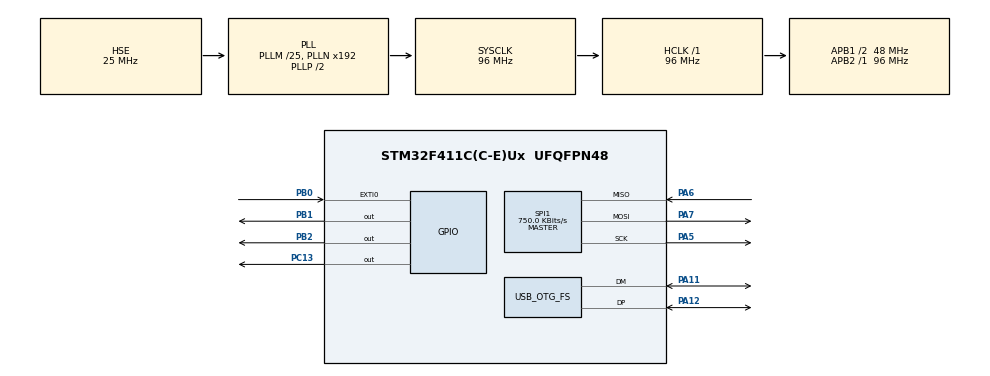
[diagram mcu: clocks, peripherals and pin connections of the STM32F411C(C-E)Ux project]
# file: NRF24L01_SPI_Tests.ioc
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Dma.Request0=SPI1_TX
Dma.Request1=SPI1_RX
Dma.SPI1_RX.1.Direction=DMA_PERIPH_TO_MEMORY
Dma.SPI1_RX.1.FIFOMode=DMA_FIFOMODE_DISABLE
Dma.SPI1_RX.1.Instance=DMA2_Stream0
Dma.SPI1_RX.1.MemDataAlignment=DMA_MDATAALIGN_BYTE
Dma.SPI1_RX.1.MemInc=DMA_MINC_ENABLE
Dma.SPI1_RX.1.Mode=DMA_NORMAL
Dma.SPI1_RX.1.PeriphDataAlignment=DMA_PDATAALIGN_BYTE
Dma.SPI1_RX.1.PeriphInc=DMA_PINC_DISABLE
Dma.SPI1_RX.1.Priority=DMA_PRIORITY_LOW
Dma.SPI1_TX.0.Direction=DMA_MEMORY_TO_PERIPH
Dma.SPI1_TX.0.FIFOMode=DMA_FIFOMODE_DISABLE
Dma.SPI1_TX.0.Instance=DMA2_Stream2
Dma.SPI1_TX.0.MemDataAlignment=DMA_MDATAALIGN_BYTE
Dma.SPI1_TX.0.MemInc=DMA_MINC_ENABLE
Dma.SPI1_TX.0.Mode=DMA_NORMAL
Dma.SPI1_TX.0.PeriphDataAlignment=DMA_PDATAALIGN_BYTE
Dma.SPI1_TX.0.PeriphInc=DMA_PINC_DISABLE
Dma.SPI1_TX.0.Priority=DMA_PRIORITY_LOW
Mcu.Family=STM32F4
Mcu.Name=STM32F411C(C-E)Ux
Mcu.Package=UFQFPN48
NVIC.DMA2_Stream0_IRQn=true\:0\:0\:false\:false\:true\:false\:true\:true
NVIC.DMA2_Stream2_IRQn=true\:0\:0\:false\:false\:true\:false\:true\:true
NVIC.EXTI0_IRQn=true\:0\:0\:false\:false\:true\:true\:true\:true
NVIC.OTG_FS_IRQn=true\:0\:0\:false\:false\:true\:false\:true\:true
NVIC.PriorityGroup=NVIC_PRIORITYGROUP_4
NVIC.SPI1_IRQn=true\:0\:0\:false\:false\:true\:true\:true\:true
PA11.Mode=Device_Only
PA11.Signal=USB_OTG_FS_DM
PA12.Mode=Device_Only
PA12.Signal=USB_OTG_FS_DP
PA5.Mode=Full_Duplex_Master
PA5.Signal=SPI1_SCK
PA6.Mode=Full_Duplex_Master
PA6.Signal=SPI1_MISO
PA7.Mode=Full_Duplex_Master
PA7.Signal=SPI1_MOSI
PB0.GPIO_ModeDefaultEXTI=GPIO_MODE_IT_FALLING
PB0.Signal=GPXTI0
PB1.Signal=GPIO_Output
PB2.Signal=GPIO_Output
PC13-ANTI_TAMP.Signal=GPIO_Output
PC14-OSC32_IN.Mode=LSE-External-Oscillator
PC14-OSC32_IN.Signal=RCC_OSC32_IN
PC15-OSC32_OUT.Mode=LSE-External-Oscillator
PC15-OSC32_OUT.Signal=RCC_OSC32_OUT
PH0\ -\ OSC_IN.Mode=HSE-External-Oscillator
PH0\ -\ OSC_IN.Signal=RCC_OSC_IN
PH1\ -\ OSC_OUT.Mode=HSE-External-Oscillator
PH1\ -\ OSC_OUT.Signal=RCC_OSC_OUT
ProjectManager.HeapSize=0x200
ProjectManager.StackSize=0x400
ProjectManager.TargetToolchain=Makefile
RCC.48MHZClocksFreq_Value=48000000
RCC.AHBFreq_Value=96000000
RCC.APB1CLKDivider=RCC_HCLK_DIV2
RCC.APB1Freq_Value=48000000
RCC.APB1TimFreq_Value=96000000
RCC.APB2Freq_Value=96000000
RCC.APB2TimFreq_Value=96000000
RCC.CortexFreq_Value=96000000
RCC.HCLKFreq_Value=96000000
RCC.HSE_VALUE=25000000
RCC.HSI_VALUE=16000000
RCC.PLLM=25
RCC.SYSCLKFreq_VALUE=96000000
RCC.SYSCLKSource=RCC_SYSCLKSOURCE_PLLCLK
RCC.VCOOutputFreq_Value=192000000
SPI1.BaudRatePrescaler=SPI_BAUDRATEPRESCALER_128
SPI1.CalculateBaudRate=750.0 KBits/s
SPI1.Direction=SPI_DIRECTION_2LINES
SPI1.Mode=SPI_MODE_MASTER
SPI1.VirtualType=VM_MASTER
USB_DEVICE.CLASS_NAME_FS=CDC
USB_DEVICE.VirtualMode=Cdc
USB_DEVICE.VirtualModeFS=Cdc_FS
USB_OTG_FS.VirtualMode=Device_Only
VP_USB_DEVICE_VS_USB_DEVICE_CDC_FS.Mode=CDC_FS
board=custom

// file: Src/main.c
/* USER CODE BEGIN Header */
/**
  ******************************************************************************
  * @file           : main.c
  * @brief          : Main program body
  ******************************************************************************
  * @attention
  *
  * Copyright (c) 2022 STMicroelectronics.
  * All rights reserved.
  *
  * This software is licensed under terms that can be found in the LICENSE file
  * in the root directory of this software component.
  * If no LICENSE file comes with this software, it is provided AS-IS.
  *
  ******************************************************************************
  */
/* USER CODE END Header */
#include "main.h"
#include "usb_device.h"

/* USER CODE BEGIN Includes */
#include "NRF24L01.h"

/* USER CODE END Includes */

/* USER CODE BEGIN PD */
#define RECEIVER
/* USER CODE END PD */

SPI_HandleTypeDef hspi1;
DMA_HandleTypeDef hdma_spi1_tx;
DMA_HandleTypeDef hdma_spi1_rx;

/* USER CODE BEGIN PV */
NRF24L01 nrf;

/* USER CODE END PV */

void SystemClock_Config(void);
static void MX_GPIO_Init(void);
static void MX_DMA_Init(void);
static void MX_SPI1_Init(void);
/* USER CODE BEGIN PFP */
void printAddrRegs(void);
void setCEPin(GPIO_PinState state);
void setCSNPin(GPIO_PinState state);
extern uint8_t CDC_Transmit_FS(uint8_t* Buf, uint16_t Len);

/* USER CODE END PFP */

/* USER CODE BEGIN 0 */

#define BYTE_TO_BINARY_PATTERN "%c%c%c%c%c%c%c%c"
#define BYTE_TO_BINARY(byte)  \
  (byte & 0x80 ? '1' : '0'), \
  (byte & 0x40 ? '1' : '0'), \
  (byte & 0x20 ? '1' : '0'), \
  (byte & 0x10 ? '1' : '0'), \
  (byte & 0x08 ? '1' : '0'), \
  (byte & 0x04 ? '1' : '0'), \
  (byte & 0x02 ? '1' : '0'), \
  (byte & 0x01 ? '1' : '0')

/* USER CODE END 0 */

int main(void)
{

  /* MCU Configuration--------------------------------------------------------*/

  /* Reset of all peripherals, Initializes the Flash interface and the Systick. */
  HAL_Init();

  /* Configure the system clock */
  SystemClock_Config();

  /* Initialize all configured peripherals */
  MX_GPIO_Init();
  MX_DMA_Init();
  MX_SPI1_Init();
  MX_USB_DEVICE_Init();
  /* USER CODE BEGIN 2 */

  HAL_GPIO_WritePin(GPIOB, GPIO_PIN_2, GPIO_PIN_SET); // B2 - CSN
  HAL_GPIO_WritePin(GPIOB, GPIO_PIN_1, GPIO_PIN_RESET); // B1 - CE

  HAL_StatusTypeDef err = HAL_SPI_Init(&hspi1);

  HAL_Delay(500);

  // Common
  nrf.spiHandler = &hspi1;
  nrf.rfChannel = 0x7B;
  nrf.NRF_setCEPin = &setCEPin;
  nrf.NRF_setCSNPin = &setCSNPin;
  nrf.crcScheme = NRF_CRC_1_BYTE;
  nrf.enableCRC = true;
  nrf.enableAutoAck = true;
  nrf.enableDynamicPlWidth = true;
  nrf.addressWidth = NRF_ADDRES_WIDTH_5_BYTES;
  nrf.payloadWidth = 10;
  nrf.transmitSpeed = NRF_SPEED_2Mbps;

  // For transmitter
  #ifndef RECEIVER
  printf("Transmiter\n");
  nrf.mode = NRF_MODE_TRANSMITTER;
  nrf.enableMaxRtInterrupt = true;
  nrf.enableRxDrInterrupt = true;
  nrf.enableTxDsInterrupt = true;
  nrf.autoRetransmitDelay = 0b0110;
  nrf.autoRetransmitCount = 0b1001;
  nrf.tx_address = 0x28AABBCCDD;

  uint8_t receiveBuffer[10] = {0};
  uint8_t receiverAddr[5];
  uint8_t sendCount = 0;
  NRF24L01_getLSBToMSBArray(nrf.tx_address, receiverAddr);
  #endif

  // For receiver
  #ifdef RECEIVER
  printf("Receiver\n");
  nrf.rxPipe = NRF_PIPE_0;
  nrf.mode = NRF_MODE_RECEIVER;
  nrf.enableMaxRtInterrupt = true;
  nrf.enableRxDrInterrupt = true;
  nrf.enableTxDsInterrupt = true;
  nrf.rx_address = 0x28AABBCCDD;
  #endif

  HAL_Delay(5000);

  NRF24L01_setup(&nrf);

  HAL_Delay(100);

  uint32_t flashTime = HAL_GetTick();

  #ifdef RECEIVER
  // Start listening (Set CE high)
  HAL_GPIO_WritePin(GPIOB, GPIO_PIN_1, GPIO_PIN_SET);
  #else
  sprintf((char*)receiveBuffer, "RX: %d\n", sendCount);
  uint32_t sendTime = 0;
  uint32_t numLoops = 0;
  #endif

  /* USER CODE END 2 */

  /* Infinite loop */
  /* USER CODE BEGIN WHILE */
  while (1)
  {
    // printAddrRegs();

    #ifdef RECEIVER
    if(NRF24L01_receive(&nrf)){
      printf("Val = %s", (volatile char*)nrf.data);
    }
    #else

    NRF24L01_transmitDMALoop(&nrf);
    numLoops++;

    if((HAL_GetTick() - sendTime) > 100 && NRF24L01_transmitDMA(&nrf, receiverAddr, receiveBuffer, strlen((char*)receiveBuffer))){
      sendCount++;
      sendTime = HAL_GetTick();
      printf("Send: %s \nNum Loop: %ld\n", receiveBuffer, numLoops);

      sprintf((char*)receiveBuffer, "RX: %d\n", sendCount);

      numLoops = 0;
    }

    #endif

    if(HAL_GetTick() - flashTime > 500){
      // if(HAL_SPI_GetState(nrf.spiHandler) == HAL_SPI_STATE_READY){
      //   uint8_t regVal = 0;
      //   NRF24L01_readRegister(&nrf, NRF_REG_CONFIG, &regVal, 1);
      //   printf("Config - "BYTE_TO_BINARY_PATTERN"\n", BYTE_TO_BINARY(regVal));
      // }

      HAL_GPIO_TogglePin(GPIOC, GPIO_PIN_13);
      flashTime = HAL_GetTick();
    }

    /* USER CODE END WHILE */

  }
}

void SystemClock_Config(void)
{
  RCC_OscInitTypeDef RCC_OscInitStruct = {0};
  RCC_ClkInitTypeDef RCC_ClkInitStruct = {0};

  /** Configure the main internal regulator output voltage
  */
  __HAL_RCC_PWR_CLK_ENABLE();
  __HAL_PWR_VOLTAGESCALING_CONFIG(PWR_REGULATOR_VOLTAGE_SCALE1);

  /** Initializes the RCC Oscillators according to the specified parameters
  * in the RCC_OscInitTypeDef structure.
  */
  RCC_OscInitStruct.OscillatorType = RCC_OSCILLATORTYPE_HSE;
  RCC_OscInitStruct.HSEState = RCC_HSE_ON;
  RCC_OscInitStruct.PLL.PLLState = RCC_PLL_ON;
  RCC_OscInitStruct.PLL.PLLSource = RCC_PLLSOURCE_HSE;
  RCC_OscInitStruct.PLL.PLLM = 25;
  RCC_OscInitStruct.PLL.PLLN = 192;
  RCC_OscInitStruct.PLL.PLLP = RCC_PLLP_DIV2;
  RCC_OscInitStruct.PLL.PLLQ = 4;
  if (HAL_RCC_OscConfig(&RCC_OscInitStruct) != HAL_OK)
  {
    Error_Handler();
  }

  /** Initializes the CPU, AHB and APB buses clocks
  */
  RCC_ClkInitStruct.ClockType = RCC_CLOCKTYPE_HCLK|RCC_CLOCKTYPE_SYSCLK
                              |RCC_CLOCKTYPE_PCLK1|RCC_CLOCKTYPE_PCLK2;
  RCC_ClkInitStruct.SYSCLKSource = RCC_SYSCLKSOURCE_PLLCLK;
  RCC_ClkInitStruct.AHBCLKDivider = RCC_SYSCLK_DIV1;
  RCC_ClkInitStruct.APB1CLKDivider = RCC_HCLK_DIV2;
  RCC_ClkInitStruct.APB2CLKDivider = RCC_HCLK_DIV1;

  if (HAL_RCC_ClockConfig(&RCC_ClkInitStruct, FLASH_LATENCY_3) != HAL_OK)
  {
    Error_Handler();
  }
}

static void MX_SPI1_Init(void)
{

  /* SPI1 parameter configuration*/
  hspi1.Instance = SPI1;
  hspi1.Init.Mode = SPI_MODE_MASTER;
  hspi1.Init.Direction = SPI_DIRECTION_2LINES;
  hspi1.Init.DataSize = SPI_DATASIZE_8BIT;
  hspi1.Init.CLKPolarity = SPI_POLARITY_LOW;
  hspi1.Init.CLKPhase = SPI_PHASE_1EDGE;
  hspi1.Init.NSS = SPI_NSS_SOFT;
  hspi1.Init.BaudRatePrescaler = SPI_BAUDRATEPRESCALER_128;
  hspi1.Init.FirstBit = SPI_FIRSTBIT_MSB;
  hspi1.Init.TIMode = SPI_TIMODE_DISABLE;
  hspi1.Init.CRCCalculation = SPI_CRCCALCULATION_DISABLE;
  hspi1.Init.CRCPolynomial = 10;
  if (HAL_SPI_Init(&hspi1) != HAL_OK)
  {
    Error_Handler();
  }

}

static void MX_DMA_Init(void)
{

  /* DMA controller clock enable */
  __HAL_RCC_DMA2_CLK_ENABLE();

  /* DMA interrupt init */
  /* DMA2_Stream0_IRQn interrupt configuration */
  HAL_NVIC_SetPriority(DMA2_Stream0_IRQn, 0, 0);
  HAL_NVIC_EnableIRQ(DMA2_Stream0_IRQn);
  /* DMA2_Stream2_IRQn interrupt configuration */
  HAL_NVIC_SetPriority(DMA2_Stream2_IRQn, 0, 0);
  HAL_NVIC_EnableIRQ(DMA2_Stream2_IRQn);

}

static void MX_GPIO_Init(void)
{
  GPIO_InitTypeDef GPIO_InitStruct = {0};

  /* GPIO Ports Clock Enable */
  __HAL_RCC_GPIOC_CLK_ENABLE();
  __HAL_RCC_GPIOH_CLK_ENABLE();
  __HAL_RCC_GPIOA_CLK_ENABLE();
  __HAL_RCC_GPIOB_CLK_ENABLE();

  /*Configure GPIO pin Output Level */
  HAL_GPIO_WritePin(GPIOC, GPIO_PIN_13, GPIO_PIN_RESET);

  /*Configure GPIO pin Output Level */
  HAL_GPIO_WritePin(GPIOB, GPIO_PIN_1|GPIO_PIN_2, GPIO_PIN_RESET);

  /*Configure GPIO pin : PC13 */
  GPIO_InitStruct.Pin = GPIO_PIN_13;
  GPIO_InitStruct.Mode = GPIO_MODE_OUTPUT_PP;
  GPIO_InitStruct.Pull = GPIO_NOPULL;
  GPIO_InitStruct.Speed = GPIO_SPEED_FREQ_LOW;
  HAL_GPIO_Init(GPIOC, &GPIO_InitStruct);

  /*Configure GPIO pin : PB0 */
  GPIO_InitStruct.Pin = GPIO_PIN_0;
  GPIO_InitStruct.Mode = GPIO_MODE_IT_FALLING;
  GPIO_InitStruct.Pull = GPIO_NOPULL;
  HAL_GPIO_Init(GPIOB, &GPIO_InitStruct);

  /*Configure GPIO pins : PB1 PB2 */
  GPIO_InitStruct.Pin = GPIO_PIN_1|GPIO_PIN_2;
  GPIO_InitStruct.Mode = GPIO_MODE_OUTPUT_PP;
  GPIO_InitStruct.Pull = GPIO_NOPULL;
  GPIO_InitStruct.Speed = GPIO_SPEED_FREQ_LOW;
  HAL_GPIO_Init(GPIOB, &GPIO_InitStruct);

  /* EXTI interrupt init*/
  HAL_NVIC_SetPriority(EXTI0_IRQn, 0, 0);
  HAL_NVIC_EnableIRQ(EXTI0_IRQn);

}

/* USER CODE BEGIN 4 */

void printAddrRegs(){
  uint8_t receiveBuffer[32];
  NRF24L01_readRegister(&nrf, NRF_REG_RX_ADDR_P0, receiveBuffer, 5);
  printf("ADDR 0 = %x:%x:%x:%x:%x\n", receiveBuffer[0], receiveBuffer[1], receiveBuffer[2], receiveBuffer[3], receiveBuffer[4]);
  HAL_Delay(50);
  NRF24L01_readRegister(&nrf, NRF_REG_RX_ADDR_P1, receiveBuffer, 5);
  printf("ADDR 1 = %x:%x:%x:%x:%x\n", receiveBuffer[0], receiveBuffer[1], receiveBuffer[2], receiveBuffer[3], receiveBuffer[4]);
  HAL_Delay(50);
  NRF24L01_readRegister(&nrf, NRF_REG_RX_ADDR_P2, receiveBuffer, 1);
  printf("ADDR 2 = %x\n", receiveBuffer[0]);
  HAL_Delay(50);
  NRF24L01_readRegister(&nrf, NRF_REG_RX_ADDR_P3, receiveBuffer, 1);
  printf("ADDR 3 = %x\n", receiveBuffer[0]);
  HAL_Delay(50);
  NRF24L01_readRegister(&nrf, NRF_REG_RX_ADDR_P4, receiveBuffer, 1);
  printf("ADDR 4 = %x\n", receiveBuffer[0]);
  HAL_Delay(50);
  NRF24L01_readRegister(&nrf, NRF_REG_RX_ADDR_P5, receiveBuffer, 1);
  printf("ADDR 5 = %x\n", receiveBuffer[0]);
  HAL_Delay(50);
  NRF24L01_readRegister(&nrf, NRF_REG_RX_PW_P0, receiveBuffer, 1);
  printf("PW 0 = "BYTE_TO_BINARY_PATTERN"\n", BYTE_TO_BINARY(receiveBuffer[0]));
  HAL_Delay(50);
  NRF24L01_readRegister(&nrf, NRF_REG_RX_PW_P1, receiveBuffer, 1);
  printf("PW 1 = "BYTE_TO_BINARY_PATTERN"\n", BYTE_TO_BINARY(receiveBuffer[0]));
  HAL_Delay(50);
  NRF24L01_readRegister(&nrf, NRF_REG_RX_PW_P2, receiveBuffer, 1);
  printf("PW 2 = "BYTE_TO_BINARY_PATTERN"\n", BYTE_TO_BINARY(receiveBuffer[0]));
  HAL_Delay(50);
  NRF24L01_readRegister(&nrf, NRF_REG_RX_PW_P3, receiveBuffer, 1);
  printf("PW 3 = "BYTE_TO_BINARY_PATTERN"\n", BYTE_TO_BINARY(receiveBuffer[0]));
  HAL_Delay(50);
  NRF24L01_readRegister(&nrf, NRF_REG_RX_PW_P4, receiveBuffer, 1);
  printf("PW 4 = "BYTE_TO_BINARY_PATTERN"\n", BYTE_TO_BINARY(receiveBuffer[0]));
  HAL_Delay(50);
  NRF24L01_readRegister(&nrf, NRF_REG_RX_PW_P5, receiveBuffer, 1);
  printf("PW 5 = "BYTE_TO_BINARY_PATTERN"\n", BYTE_TO_BINARY(receiveBuffer[0]));
  HAL_Delay(50);
  NRF24L01_readRegister(&nrf, NRF_REG_TX_ADDR, receiveBuffer, 5);
  printf("TX Addr = %x:%x:%x:%x:%x\n", receiveBuffer[0], receiveBuffer[1], receiveBuffer[2], receiveBuffer[3], receiveBuffer[4]);
  HAL_Delay(50);
}

void HAL_SPI_TxCpltCallback(SPI_HandleTypeDef *hspi){
  nrf.txCpltInterrupt = true;
  setCSNPin(GPIO_PIN_SET);
}

void HAL_SPI_RxCpltCallback(SPI_HandleTypeDef *hspi){
  nrf.rxCpltInterrupt = true;
  setCSNPin(GPIO_PIN_SET);
}

void HAL_SPI_TxRxCpltCallback(SPI_HandleTypeDef *hspi){
  nrf.txRXCpltInterrupt = true;
  setCSNPin(GPIO_PIN_SET);
}

void HAL_GPIO_EXTI_Callback(uint16_t GPIO_Pin){
  nrf.interruptTrigger++;
}

void setCEPin(GPIO_PinState state){
  HAL_GPIO_WritePin(GPIOB, GPIO_PIN_1, state);
}

void setCSNPin(GPIO_PinState state){
  HAL_GPIO_WritePin(GPIOB, GPIO_PIN_2, state);
}

int _write(int file, char *ptr, int len)
{
  UNUSED(file);
  CDC_Transmit_FS((uint8_t*)ptr, len);
  return len;
}

/* USER CODE END 4 */

void Error_Handler(void)
{
  __disable_irq();
  while (1)
  {
  }
}
